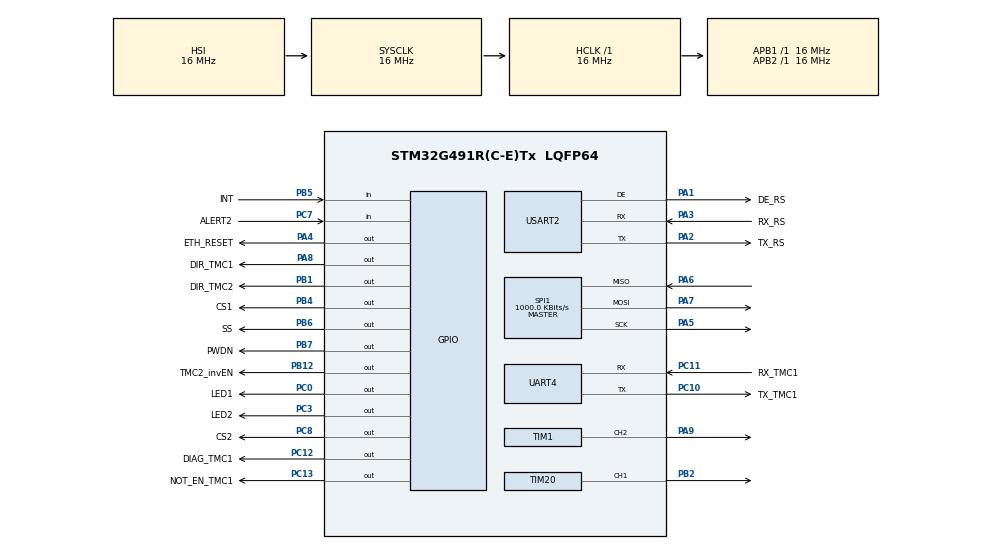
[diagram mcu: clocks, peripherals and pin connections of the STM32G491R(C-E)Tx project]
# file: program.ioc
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Mcu.Family=STM32G4
Mcu.Name=STM32G491R(C-E)Tx
Mcu.Package=LQFP64
NVIC.PriorityGroup=NVIC_PRIORITYGROUP_4
NVIC.TIM1_TRG_COM_TIM17_IRQn=true\:0\:0\:false\:false\:true\:true\:true\:true
NVIC.TIM20_TRG_COM_IRQn=true\:0\:0\:false\:false\:true\:true\:true\:true
NVIC.USART2_IRQn=true\:0\:0\:false\:false\:true\:true\:true\:true
PA1.GPIO_Label=DE_RS
PA1.Mode=Hardware Flow Control (RS485)
PA1.Signal=USART2_DE
PA13.GPIO_Label=SWDIO
PA13.Signal=SYS_JTMS-SWDIO
PA14.GPIO_Label=SWCLK
PA14.Signal=SYS_JTCK-SWCLK
PA2.GPIO_Label=TX_RS
PA2.Mode=Asynchronous
PA2.Signal=USART2_TX
PA3.GPIO_Label=RX_RS
PA3.Mode=Asynchronous
PA3.Signal=USART2_RX
PA4.GPIO_Label=ETH_RESET
PA4.Signal=GPIO_Output
PA5.Mode=Full_Duplex_Master
PA5.Signal=SPI1_SCK
PA6.Mode=Full_Duplex_Master
PA6.Signal=SPI1_MISO
PA7.Mode=Full_Duplex_Master
PA7.Signal=SPI1_MOSI
PA8.GPIO_Label=DIR_TMC1
PA8.Signal=GPIO_Output
PA9.Signal=S_TIM1_CH2
PB1.GPIO_Label=DIR_TMC2
PB1.Signal=GPIO_Output
PB10.GPIO_Label=TX_TMC2
PB10.Signal=USART3_TX
PB11.GPIO_Label=RX_TMC2
PB11.Signal=USART3_RX
PB12.GPIO_Label=TMC2_invEN
PB12.Signal=GPIO_Output
PB2.Mode=PWM Generation1 CH1
PB2.Signal=TIM20_CH1
PB3.GPIO_Label=SWO
PB3.Signal=SYS_JTDO-SWO
PB4.GPIO_Label=CS1
PB4.Signal=GPIO_Output
PB5.GPIO_Label=INT
PB5.Signal=GPIO_Input
PB6.GPIO_Label=SS
PB6.Signal=GPIO_Output
PB7.GPIO_Label=PWDN
PB7.Signal=GPIO_Output
PC0.GPIO_Label=LED1
PC0.Signal=GPIO_Output
PC10.GPIO_Label=TX_TMC1
PC10.Mode=Asynchronous
PC10.Signal=UART4_TX
PC11.GPIO_Label=RX_TMC1
PC11.Mode=Asynchronous
PC11.Signal=UART4_RX
PC12.GPIO_Label=DIAG_TMC1
PC12.Signal=GPIO_Output
PC13.GPIO_Label=NOT_EN_TMC1
PC13.Signal=GPIO_Output
PC3.GPIO_Label=LED2
PC3.Signal=GPIO_Output
PC4.GPIO_Label=SWD_TX
PC4.Signal=USART1_TX
PC5.GPIO_Label=SWD_RX
PC5.Signal=USART1_RX
PC7.GPIO_Label=ALERT2
PC7.Signal=GPIO_Input
PC8.GPIO_Label=CS2
PC8.Signal=GPIO_Output
ProjectManager.HeapSize=0x200
ProjectManager.StackSize=0x400
ProjectManager.TargetToolchain=Makefile
RCC.AHBFreq_Value=16000000
RCC.APB1Freq_Value=16000000
RCC.APB1TimFreq_Value=16000000
RCC.APB2Freq_Value=16000000
RCC.APB2TimFreq_Value=16000000
RCC.CortexFreq_Value=16000000
RCC.EXTERNAL_CLOCK_VALUE=12288000
RCC.HCLKFreq_Value=16000000
RCC.HSE_VALUE=8000000
RCC.HSI48_VALUE=48000000
RCC.HSI_VALUE=16000000
RCC.LSE_VALUE=32768
RCC.SYSCLKFreq_VALUE=16000000
RCC.USBFreq_Value=48000000
RCC.VCOOutputFreq_Value=128000000
SH.S_TIM1_CH2.0=TIM1_CH2,PWM Generation2 CH2
SPI1.BaudRatePrescaler=SPI_BAUDRATEPRESCALER_16
SPI1.CLKPhase=SPI_PHASE_1EDGE
SPI1.CalculateBaudRate=1000.0 KBits/s
SPI1.DataSize=SPI_DATASIZE_8BIT
SPI1.Direction=SPI_DIRECTION_2LINES
SPI1.Mode=SPI_MODE_MASTER
SPI1.NSSPMode=SPI_NSS_PULSE_DISABLE
SPI1.VirtualType=VM_MASTER
TIM1.AutoReloadPreload=TIM_AUTORELOAD_PRELOAD_ENABLE
TIM1.Channel-PWM\ Generation2\ CH2=TIM_CHANNEL_2
TIM1.PeriodNoDither=4999
TIM1.Prescaler=1
TIM20.AutoReloadPreload=TIM_AUTORELOAD_PRELOAD_ENABLE
TIM20.Channel-PWM\ Generation1\ CH1=TIM_CHANNEL_1
TIM20.PeriodNoDither=4999
TIM20.Prescaler=1
USART2.VirtualMode-Asynchronous=VM_ASYNC
USART2.VirtualMode-Hardware\ Flow\ Control\ (RS485)=VM_ASYNC
USART2.WordLength=WORDLENGTH_8B
VP_SYS_VS_DBSignals.Mode=DisableDeadBatterySignals
VP_TIM1_VS_ClockSourceINT.Mode=Internal
VP_TIM20_VS_ClockSourceINT.Mode=Internal
board=custom

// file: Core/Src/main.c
/* USER CODE BEGIN Header */
/**
  ******************************************************************************
  * @file           : main.c
  * @brief          : Main program body
  ******************************************************************************
  * @attention
  *
  * Copyright (c) 2022 STMicroelectronics.
  * All rights reserved.
  *
  * This software is licensed under terms that can be found in the LICENSE file
  * in the root directory of this software component.
  * If no LICENSE file comes with this software, it is provided AS-IS.
  *
  ******************************************************************************
  */
/* USER CODE END Header */
#include "main.h"
#include "spi.h"
#include "tim.h"
#include "usart.h"
#include "gpio.h"

/* USER CODE BEGIN Includes */

#include <string.h>
#include <stdio.h>
#include <stdbool.h>
#include "tmag5170.h"

/* USER CODE END Includes */

/* USER CODE BEGIN PD */

#define ENCODER_CS ((uint8_t) 0x00)
#define ENCODER_CP ((uint8_t) 0x01)

/* USER CODE END PD */

/* USER CODE BEGIN PV */

uint8_t data[6];
//uint32_t ilosc_krokow = 1600;

char motorCS[2] = {'C', 'S'};
char motorCP[2] = {'C', 'P'};

float AbsoluteAngleCS = 0;
float AbsoluteAngleCP = 0;

bool isInterrupt = false;
bool wasInterrupt = false;

uint8_t directionOfRotation = 0;
char kat_obrotu[3];

char motor[2];

float FirstAngle = 0.0;
float SecondAngle = 0.0;
float AngleDifference = 0.0;

uint8_t WhichRotation = 0;

uint8_t IsInRange = 0;

/* USER CODE END PV */

void SystemClock_Config(void);
/* USER CODE BEGIN PFP */

void PWM_steering_period(float kroki_funkcja)
{
  //================================================DISCLAIMER================================================
  // tą funkcje bym przerobił w taki sposob, zeby nie mierzyla czasu tylko liczyla konkretne okresy PWM
  // i po wykonaniu okreslonej wartosci okresow zatrzymuje timer
  //==========================================================================================================

  float okres = 0.0;
  float czas_delay = 0.0;
  //T = (PRS + 1)(ARR +1) / f        PRS- preskaler, ARR- period

  okres = ((float)htim1.Init.Period + 1) * ((float)htim1.Init.Prescaler + 1)/(float)16e6;
  //okres = 1/(float)1600;

  czas_delay = okres * kroki_funkcja * 1000;
  ///delay(czas_delay);
  HAL_Delay(czas_delay);
}

float angleToSteps(uint16_t angle)
{
  //----------------------
  // tutaj zwracana wartość powinna być całkowita
  //----------------------

  float steps = 0;

  // TMC2209 is set to 8 microsteps
  // motor has 1.8 degree for 1 step
  // for 360 degree:
  // (360/1.8)*8 = 1600 steps
  // 360/1600 = 0,225 =>
  // each microstep is 0,225 degree

  steps = (float)angle/0.225;

  return steps;
}

void directionRead(uint8_t data[6])
{

  char direction = (char)data[2];

  // Left
  if(direction == 'L')
  {
    directionOfRotation = 0;
  }
  // Right
  else if ((char*)data[2] == 'R')
  {
    directionOfRotation = 1;
  }
}

void motorRotation(char whichMotor[2], uint8_t direction, uint16_t angle)
{

  uint16_t FirstAngle;
  uint16_t SecondAngle;

  if(strncmp(whichMotor, motorCS, 2) == 0)
  {
    HAL_GPIO_WritePin(DIR_TMC1_GPIO_Port, DIR_TMC1_Pin, direction);

    __HAL_TIM_SET_COMPARE(&htim1, TIM_CHANNEL_2, 2500);

    HAL_TIM_PWM_Start(&htim1, TIM_CHANNEL_2);

    PWM_steering_period(angleToSteps(angle));

    HAL_TIM_PWM_Stop(&htim1, TIM_CHANNEL_2);

  }
  else if (strncmp(whichMotor, motorCP, 2) == 0)
  {
    if (direction == 0)
    direction = 1;
    else
    direction = 0;

    HAL_GPIO_WritePin(DIR_TMC2_GPIO_Port, DIR_TMC2_Pin, direction);

    __HAL_TIM_SET_COMPARE(&htim20, TIM_CHANNEL_1, 2500);

    HAL_TIM_PWM_Start(&htim20, TIM_CHANNEL_1);

    PWM_steering_period(angleToSteps(angle));

    HAL_TIM_PWM_Stop(&htim20, TIM_CHANNEL_1);
  }

}

float CheckAngle(float firstAngle, float secondAngle, uint16_t Angle, uint8_t direction)
{
  float angleDifference = 0;
  if (direction == 0)
  {
    angleDifference = secondAngle - firstAngle;
  }
  else if (direction == 1)
  {
    angleDifference = firstAngle - secondAngle;
  }

  HAL_Delay(50);
  return angleDifference;

}

void HAL_UART_RxCpltCallback(UART_HandleTypeDef *huart)
{
  uint8_t Data[40];
  uint16_t size = 0;

  isInterrupt = !isInterrupt;

  // dalsze nasluchiwanie UART
  HAL_UART_Receive_IT(&huart2, data, 6);
}

void HallSensorSettings(void)
{
  TMAG5170_DEVICE_CONFIG_settings_t DevSettings;
  DevSettings.ConvAvg = TMAG5170_CONV_AVG_1x;
  DevSettings.MagTempCoef = TMAG5170_MAG_TEMPCO_0;
  DevSettings.OperatingMode = TMAG5170_OPERATING_MODE_ConfigurationMode;
  DevSettings.TempChannelEnabled = TMAG5170_T_CH_EN_TempChannelEnabled;
  DevSettings.TempRate = TMAG5170_T_RATE_sameAsOtherSensors;
  DevSettings.TempChannelEnabled = TMAG5170_T_HLT_EN_tempLimitCheckOff;

  TMAG5170_SENSOR_CONFIG_settings_t SensSettings;
  SensSettings.AngleEnabled = TMAG5170_ANGLE_EN_X_Y;
  SensSettings.SleepTime = TMAG5170_SLEEPTIME_1ms;
  SensSettings.MagChannelEnabled = TMAG5170_MAG_CH_EN_XY;
  SensSettings.Zrange = TMAG5170_Z_RANGE_50mT;
  SensSettings.Yrange = TMAG5170_Y_RANGE_50mT;
  SensSettings.Xrange = TMAG5170_X_RANGE_50mT;

  TMAG5170_SYSTEM_CONFIG_settings_t SystemSettings;
  SystemSettings.DiagnosticSelect = TMAG5170_DIAG_SEL_AllDataPathTogether;
  SystemSettings.TriggerMode = TMAG5170_TRIGGER_MODE_nCSpulse;
  SystemSettings.DataType = TMAG5170_DATA_TYPE_32bit;
  SystemSettings.DiagnosticEnabled = TMAG5170_DIAG_EN_AFEdiagnosticsDisabled;
  SystemSettings.ZlimitCheck = TMAG5170_Z_HLT_EN_ZaxisLimitCheckOff;
  SystemSettings.YlimitCheck = TMAG5170_Y_HLT_EN_YaxisLimitCheckOff;
  SystemSettings.XlimitCheck = TMAG5170_X_HLT_EN_XaxisLimitCheckOff;

  TMAG5170_ALERT_CONFIG_settings_t AlertSettings;
  AlertSettings.AlertStatus = TMAG5170_STATUS_ALRT_IsAsserted;

  DisableCRC();
  TMAG5170_dev_conf_settings(&DevSettings);
  TMAG5170_sens_conf_settings(&SensSettings);
  TMAG5170_sys_conf_settings(&SystemSettings);
  TMAG5170_al_conf_settings(&AlertSettings);

}

void DisplayAngle(void)
{
  float Angle;
  uint16_t AngleInt = 0;
  uint16_t AngleInt100 = 0;

  Angle = Angle + GetAngle();

  AngleInt = (uint16_t)Angle;

  Angle = Angle*100 - AngleInt*100;

  AngleInt100 = (uint16_t)Angle;

  HAL_UART_Transmit(&huart2, "Angle: ", strlen("Angle: "), HAL_MAX_DELAY);
  char str1[8];
  sprintf(str1, "%d", AngleInt);
  HAL_UART_Transmit(&huart2, str1, strlen(str1), HAL_MAX_DELAY);
  HAL_UART_Transmit(&huart2, ",", strlen(","), HAL_MAX_DELAY);
  char str2[8];
  sprintf(str2, "%d", AngleInt100);
  HAL_UART_Transmit(&huart2, str2, strlen(str2), HAL_MAX_DELAY);
  HAL_UART_Transmit(&huart2, (uint8_t*)"\r\n", strlen("\r\n"), HAL_MAX_DELAY);

}

void CheckAbsoluteAngle(uint16_t Angle, uint8_t Direction, char motorSel[2])
{
  uint16_t NewAngleCS = 0;
  uint16_t NewAngleCP = 0;

  // at the beginning absolute angle is set to 0 degree
  if(strncmp(motorSel, motorCS, 2) == 0)
  {
    if(Direction == 0)
    {
      if(AbsoluteAngleCS + Angle < 3600)
      {
        AbsoluteAngleCS = AbsoluteAngleCS + Angle;
        IsInRange = 1;
      }
      else
      IsInRange = 0;
    }
    else
    {
      if(AbsoluteAngleCS - Angle > 0)
      {
        AbsoluteAngleCS = AbsoluteAngleCS - Angle;
        IsInRange = 1;
      }
      else
      IsInRange = 0;
    }
  }
  else if(strncmp(motorSel, motorCP, 2) == 0)
  {

    if(Direction == 0)
    {
      if(AbsoluteAngleCP + Angle < 3600)
      {
        AbsoluteAngleCP = AbsoluteAngleCP + Angle;
        IsInRange = 1;
      }
      else
      IsInRange = 0;
    }
    else
    {
      if(AbsoluteAngleCP - Angle > 0)
      {
        AbsoluteAngleCP = AbsoluteAngleCP - Angle;
        IsInRange = 1;
      }
      else
        IsInRange = 0;
    }
  }
}

/* USER CODE END PFP */

int main(void)
{

  /* MCU Configuration--------------------------------------------------------*/

  /* Reset of all peripherals, Initializes the Flash interface and the Systick. */
  HAL_Init();

  /* Configure the system clock */
  SystemClock_Config();

  /* Initialize all configured peripherals */
  MX_GPIO_Init();
  MX_TIM1_Init();
  MX_USART2_UART_Init();
  MX_UART4_Init();
  MX_SPI1_Init();
  MX_TIM20_Init();
  /* USER CODE BEGIN 2 */

  // TMAG5170 configuration
  HallSensorSettings();

  HAL_UART_Receive_IT(&huart2, data, 6);
  HAL_UART_Transmit(&huart2, (uint8_t*)"sterownik silnikami\r\n", strlen("sterownik silnikami\r\n"), 200);
  /* USER CODE END 2 */

  /* Infinite loop */
  while (1)
  {

    /* USER CODE BEGIN 3 */

  if(isInterrupt != wasInterrupt)
  {

    wasInterrupt = !wasInterrupt;
    directionRead(data);

    // save to "silnik" from data 'CS' or 'CP'
    strncpy(motor, data, 2);
    // save to "kat_obrotu" from data
    strncpy(kat_obrotu, data + 3, 3);
    uint16_t kat_obrotu_zmienna = (uint16_t)atoi(kat_obrotu);

    CheckAbsoluteAngle(kat_obrotu_zmienna, directionOfRotation, motor);

    if(IsInRange == 1)
      motorRotation(motor, directionOfRotation, (uint16_t)kat_obrotu_zmienna);
    else
      HAL_UART_Transmit(&huart2, (uint8_t*)"\r\nwrong angle!!!\r\nrange has been exceeded\r\n", strlen("\r\nwrong angle!!!\r\nrange has been exceeded\r\n"), 200);

    // AngleDifference = CheckAngle(FirstAngle, SecondAngle, kat_obrotu_zmienna, directionOfRotation);

    // uint16_t kat_dupa = 0;
    // kat_dupa = (uint16_t)AngleDifference;

    // char str1[8];
    // sprintf(str1, "%d", kat_dupa);
    // HAL_UART_Transmit(&huart2, str1, strlen(str1), HAL_MAX_DELAY);

  }

    //DisplayAngle();
    //HAL_Delay(1000);

  }
  /* USER CODE END 3 */
}

void SystemClock_Config(void)
{
  RCC_OscInitTypeDef RCC_OscInitStruct = {0};
  RCC_ClkInitTypeDef RCC_ClkInitStruct = {0};

  /** Configure the main internal regulator output voltage
  */
  HAL_PWREx_ControlVoltageScaling(PWR_REGULATOR_VOLTAGE_SCALE1);

  /** Initializes the RCC Oscillators according to the specified parameters
  * in the RCC_OscInitTypeDef structure.
  */
  RCC_OscInitStruct.OscillatorType = RCC_OSCILLATORTYPE_HSI;
  RCC_OscInitStruct.HSIState = RCC_HSI_ON;
  RCC_OscInitStruct.HSICalibrationValue = RCC_HSICALIBRATION_DEFAULT;
  RCC_OscInitStruct.PLL.PLLState = RCC_PLL_NONE;
  if (HAL_RCC_OscConfig(&RCC_OscInitStruct) != HAL_OK)
  {
    Error_Handler();
  }

  /** Initializes the CPU, AHB and APB buses clocks
  */
  RCC_ClkInitStruct.ClockType = RCC_CLOCKTYPE_HCLK|RCC_CLOCKTYPE_SYSCLK
                              |RCC_CLOCKTYPE_PCLK1|RCC_CLOCKTYPE_PCLK2;
  RCC_ClkInitStruct.SYSCLKSource = RCC_SYSCLKSOURCE_HSI;
  RCC_ClkInitStruct.AHBCLKDivider = RCC_SYSCLK_DIV1;
  RCC_ClkInitStruct.APB1CLKDivider = RCC_HCLK_DIV1;
  RCC_ClkInitStruct.APB2CLKDivider = RCC_HCLK_DIV1;

  if (HAL_RCC_ClockConfig(&RCC_ClkInitStruct, FLASH_LATENCY_0) != HAL_OK)
  {
    Error_Handler();
  }
}

void Error_Handler(void)
{
  __disable_irq();
  while (1)
  {
  }
}
